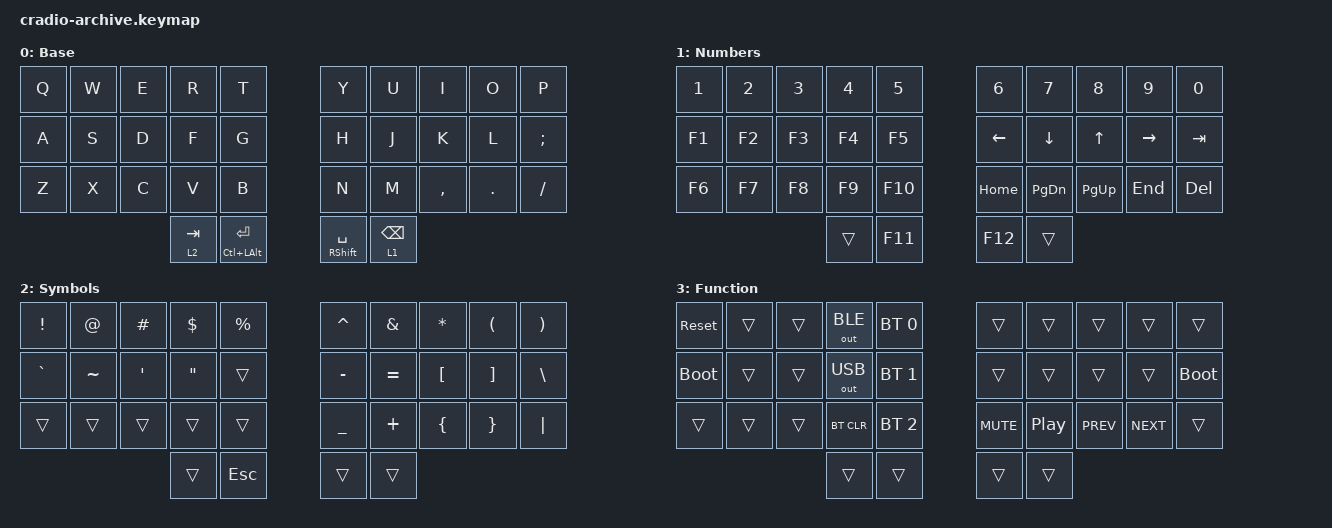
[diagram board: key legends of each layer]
/*
 * Generic 3x5 Keymap
 * Edit this file with keymap-editor, then apply to real boards
 */

#include <behaviors.dtsi>
#include <dt-bindings/zmk/bt.h>
#include <dt-bindings/zmk/keys.h>
#include <dt-bindings/zmk/outputs.h>

// #include <dt-bindings/zmk/outputs.h>
// Include the shared behaviors and macros FIRST

// #include "generic_3x5_behaviors.dtsi"

// Include the shared layer definitions

// #include "generic_3x5_layers.dtsi"

/ {
    combos {
        compatible = "zmk,combos";

        combo_unlock {
            timeout-ms = <50>;
            key-positions = <0 1>;
            bindings = <&studio_unlock>;
            layers = <0>;
        };

        FunctionLayer {
            bindings = <&mo 3>;
            key-positions = <30 31>;
        };

        Esc {
            bindings = <&kp ESCAPE>;
            key-positions = <0 1>;
        };

        Tab {
            bindings = <&kp TAB>;
            key-positions = <10 11>;
        };

        Ctrl_Z {
            bindings = <&kp LC(Z)>;
            key-positions = <20 21>;
        };

        Ctrl_X {
            bindings = <&kp LC(X)>;
            key-positions = <21 22>;
        };

        Ctrl_V {
            bindings = <&kp LC(V)>;
            key-positions = <22 23>;
        };
    };

    keymap {
        compatible = "zmk,keymap";

        base_layer {
            display-name = "Base";
            bindings = <
&kp Q  &kp W  &kp E  &kp R      &kp T               &kp Y            &kp U       &kp I      &kp O    &kp P
&kp A  &kp S  &kp D  &kp F      &kp G               &kp H            &kp J       &kp K      &kp L    &kp SEMICOLON
&kp Z  &kp X  &kp C  &kp V      &kp B               &kp N            &kp M       &kp COMMA  &kp DOT  &kp SLASH
                     &lt 2 TAB  &mt LC(LALT) RET    &mt RSHFT SPACE  &lt 1 BSPC
            >;
        };

        num_layer {
            display-name = "Numbers";
            bindings = <
&kp N1  &kp N2  &kp N3  &kp N4  &kp N5     &kp N6    &kp N7     &kp N8     &kp N9     &kp N0
&kp F1  &kp F2  &kp F3  &kp F4  &kp F5     &kp LEFT  &kp DOWN   &kp UP     &kp RIGHT  &kp TAB
&kp F6  &kp F7  &kp F8  &kp F9  &kp F10    &kp HOME  &kp PG_DN  &kp PG_UP  &kp END    &kp DEL
                        &trans  &kp F11    &kp F12   &trans
            >;
        };

        sym_layer {
            display-name = "Symbols";
            bindings = <
&kp EXCL   &kp AT     &kp HASH  &kp DLLR  &kp PRCNT    &kp CARET  &kp AMPS   &kp ASTRK  &kp LPAR  &kp RPAR
&kp GRAVE  &kp TILDE  &kp SQT   &kp DQT   &trans       &kp MINUS  &kp EQUAL  &kp LBKT   &kp RBKT  &kp BSLH
&trans     &trans     &trans    &trans    &trans       &kp UNDER  &kp PLUS   &kp LBRC   &kp RBRC  &kp PIPE
                                &trans    &kp ESC      &trans     &trans
            >;
        };

        fnc_layer {
            display-name = "Function";
            bindings = <
&sys_reset   &trans  &trans  &out OUT_BLE  &bt BT_SEL 0    &trans      &trans    &trans      &trans      &trans
&bootloader  &trans  &trans  &out OUT_USB  &bt BT_SEL 1    &trans      &trans    &trans      &trans      &bootloader
&trans       &trans  &trans  &bt BT_CLR    &bt BT_SEL 2    &kp C_MUTE  &kp C_PP  &kp C_PREV  &kp C_NEXT  &trans
                             &trans        &trans          &trans      &trans
            >;
        };
    };
};
